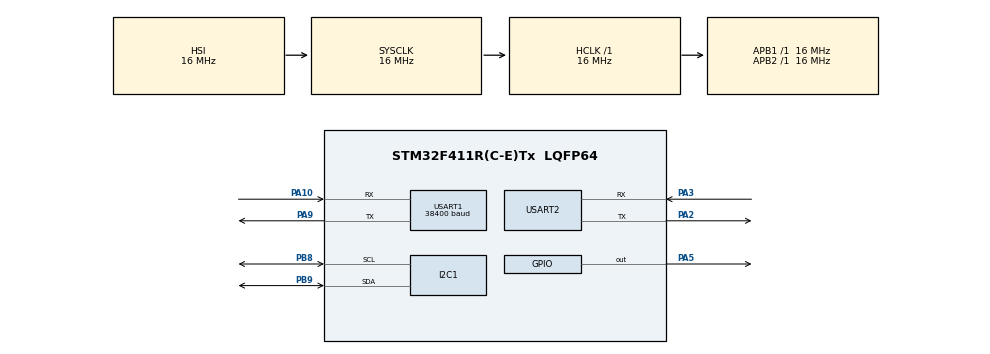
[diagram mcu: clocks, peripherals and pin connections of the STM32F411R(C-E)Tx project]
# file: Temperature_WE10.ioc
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FREERTOS.Tasks01=defaultTask,0,128,StartDefaultTask,Default,NULL,Dynamic,NULL,NULL
FREERTOS.configUSE_NEWLIB_REENTRANT=1
Mcu.Family=STM32F4
Mcu.Name=STM32F411R(C-E)Tx
Mcu.Package=LQFP64
NVIC.PriorityGroup=NVIC_PRIORITYGROUP_4
NVIC.TIM1_UP_TIM10_IRQn=true\:15\:0\:false\:false\:true\:false\:false\:true\:true
NVIC.TimeBase=TIM1_UP_TIM10_IRQn
NVIC.TimeBaseIP=TIM1
PA10.Mode=Asynchronous
PA10.Signal=USART1_RX
PA2.Mode=Asynchronous
PA2.Signal=USART2_TX
PA3.Mode=Asynchronous
PA3.Signal=USART2_RX
PA5.Signal=GPIO_Output
PA9.Mode=Asynchronous
PA9.Signal=USART1_TX
PB8.GPIO_Pu=GPIO_PULLUP
PB8.Mode=I2C
PB8.Signal=I2C1_SCL
PB9.GPIO_Pu=GPIO_PULLUP
PB9.Mode=I2C
PB9.Signal=I2C1_SDA
ProjectManager.HeapSize=0x200
ProjectManager.StackSize=0x400
ProjectManager.TargetToolchain=STM32CubeIDE
RCC.AHBFreq_Value=16000000
RCC.APB1Freq_Value=16000000
RCC.APB2Freq_Value=16000000
RCC.CortexFreq_Value=16000000
RCC.HSE_VALUE=25000000
RCC.HSI_VALUE=16000000
RCC.LSE_VALUE=32768
RCC.SYSCLKFreq_VALUE=16000000
RCC.VCOOutputFreq_Value=192000000
USART1.BaudRate=38400
USART1.VirtualMode=VM_ASYNC
USART2.VirtualMode=VM_ASYNC
VP_FREERTOS_VS_CMSIS_V1.Mode=CMSIS_V1
VP_SYS_VS_tim1.Mode=TIM1
board=custom

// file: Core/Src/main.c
/* USER CODE BEGIN Header */
/**
  ******************************************************************************
  * @file           : main.c
  * @brief          : Main program body
  ******************************************************************************
  * @attention
  *
  * Copyright (c) 2023 STMicroelectronics.
  * All rights reserved.
  *
  * This software is licensed under terms that can be found in the LICENSE file
  * in the root directory of this software component.
  * If no LICENSE file comes with this software, it is provided AS-IS.
  *
  ******************************************************************************
  */
/* USER CODE END Header */
#include "main.h"
#include "cmsis_os.h"
#include "stdio.h"
#include "string.h"

I2C_HandleTypeDef hi2c1;

UART_HandleTypeDef huart1;
UART_HandleTypeDef huart2;

osThreadId TaskHandle1;
osThreadId TaskHandle2;
/* USER CODE BEGIN PV */
#define AHT25_ADDR 0x70 // Address of the AHT25 sensor

// AHT25 commands
#define AHT25_INIT_CMD 0xE1
#define AHT25_MEASURE_CMD 0xAC

/* USER CODE END PV */

void SystemClock_Config(void);
static void MX_GPIO_Init(void);
static void MX_I2C1_Init(void);
static void MX_USART1_UART_Init(void);
static void MX_USART2_UART_Init(void);
void StartTask1(void const * argument);
void StartTask2(void const * argument);

/* USER CODE BEGIN PFP */
char buffer[128];
float temperature, humidity;

float read_sensor_values() {
    uint8_t data[6];
    uint8_t cmd = AHT25_MEASURE_CMD;

    HAL_I2C_Master_Transmit(&hi2c1, AHT25_ADDR, &cmd, 1, HAL_MAX_DELAY);
    //HAL_Delay(100);
    HAL_I2C_Master_Receive(&hi2c1, 0x71, data, 6, HAL_MAX_DELAY);

    humidity = ((float)((data[1] << 12) | (data[2] << 4) | (data[3] >> 4))) / 1048576.0 * 100.0;
    temperature = ((float)(((data[3] & 0x0F) << 16) | (data[4] << 8) | data[5])) / 1048576.0 * 200.0 - 50.0;

	    return humidity;
	}

/* USER CODE END PFP */

/* USER CODE BEGIN 0 */
void send_task1(void)
{

	sprintf(buffer, ".....TASK_1_LED_TOGGLE.....\n\r");
	HAL_UART_Transmit(&huart2, (uint8_t*)buffer, strlen(buffer), 1000);

}
void send_task_1(void)
{

	HAL_GPIO_TogglePin(GPIOA, GPIO_PIN_5);

}
void send_task2(void)
{

	sprintf(buffer, ".....TASK_2.....\n\r");
	HAL_UART_Transmit(&huart2, (uint8_t*)buffer, strlen(buffer), 1000);

}
void send_uart2(void)
{
    sprintf(buffer, "HUMIDITY:----->");
    HAL_UART_Transmit(&huart2, (uint8_t*)buffer, strlen(buffer), 1000);
    sprintf(buffer, "%.2f\r\n", humidity);  // Dereference the pointer
    HAL_UART_Transmit(&huart2, (uint8_t*)buffer, strlen(buffer), 1000);
    //HAL_Delay(1000);

    // Print temperature
    sprintf(buffer, "TEMPERATURE:---->");
    HAL_UART_Transmit(&huart2, (uint8_t*)buffer, strlen(buffer), 1000);
    sprintf(buffer, "%.2f\r\n", temperature);  // Dereference the pointer
    HAL_UART_Transmit(&huart2, (uint8_t*)buffer, strlen(buffer), 1000);
    //HAL_Delay(1000);
}

/* USER CODE END 0 */

int main(void)
{

  /* MCU Configuration--------------------------------------------------------*/

  /* Reset of all peripherals, Initializes the Flash interface and the Systick. */
  HAL_Init();

  /* Configure the system clock */
  SystemClock_Config();

  /* Initialize all configured peripherals */
  MX_GPIO_Init();
  MX_I2C1_Init();
  MX_USART1_UART_Init();
  MX_USART2_UART_Init();
  /* USER CODE BEGIN 2 */
  WE10_Init("Dinu","12345678");
  MQTT_Init();

  /* USER CODE END 2 */

  /* Create the thread(s) */
	sprintf(buffer, ".....FREERTOS_STARTS.....\n\r");
	HAL_UART_Transmit(&huart2, (uint8_t*)buffer, strlen(buffer), 1000);

  osThreadDef(Task1, StartTask1, osPriorityAboveNormal, 0, 128);
  TaskHandle1 = osThreadCreate(osThread(Task1), NULL);

  /* definition and creation of Task2 */
  osThreadDef(Task2, StartTask2, osPriorityNormal, 0, 128);
  TaskHandle2 = osThreadCreate(osThread(Task2), NULL);
  /* definition and creation of defaultTask */

  /* Start scheduler */
  osKernelStart();
  /* We should never get here as control is now taken by the scheduler */
  /* Infinite loop */
  while (1)
  {
//		sprintf(buffer, ".....TASK_2.....\n\r");
//		HAL_UART_Transmit(&huart2, (uint8_t*)buffer, strlen(buffer), 1000);
		//HAL_Delay(1000);
	  read_sensor_values();
	  send_uart2();

  }
}

void SystemClock_Config(void)
{
  RCC_OscInitTypeDef RCC_OscInitStruct = {0};
  RCC_ClkInitTypeDef RCC_ClkInitStruct = {0};

  /** Configure the main internal regulator output voltage
  */
  __HAL_RCC_PWR_CLK_ENABLE();
  __HAL_PWR_VOLTAGESCALING_CONFIG(PWR_REGULATOR_VOLTAGE_SCALE1);

  /** Initializes the RCC Oscillators according to the specified parameters
  * in the RCC_OscInitTypeDef structure.
  */
  RCC_OscInitStruct.OscillatorType = RCC_OSCILLATORTYPE_HSI;
  RCC_OscInitStruct.HSIState = RCC_HSI_ON;
  RCC_OscInitStruct.HSICalibrationValue = RCC_HSICALIBRATION_DEFAULT;
  RCC_OscInitStruct.PLL.PLLState = RCC_PLL_NONE;
  if (HAL_RCC_OscConfig(&RCC_OscInitStruct) != HAL_OK)
  {
    Error_Handler();
  }

  /** Initializes the CPU, AHB and APB buses clocks
  */
  RCC_ClkInitStruct.ClockType = RCC_CLOCKTYPE_HCLK|RCC_CLOCKTYPE_SYSCLK
                              |RCC_CLOCKTYPE_PCLK1|RCC_CLOCKTYPE_PCLK2;
  RCC_ClkInitStruct.SYSCLKSource = RCC_SYSCLKSOURCE_HSI;
  RCC_ClkInitStruct.AHBCLKDivider = RCC_SYSCLK_DIV1;
  RCC_ClkInitStruct.APB1CLKDivider = RCC_HCLK_DIV1;
  RCC_ClkInitStruct.APB2CLKDivider = RCC_HCLK_DIV1;

  if (HAL_RCC_ClockConfig(&RCC_ClkInitStruct, FLASH_LATENCY_0) != HAL_OK)
  {
    Error_Handler();
  }
}

static void MX_I2C1_Init(void)
{

  hi2c1.Instance = I2C1;
  hi2c1.Init.ClockSpeed = 100000;
  hi2c1.Init.DutyCycle = I2C_DUTYCYCLE_2;
  hi2c1.Init.OwnAddress1 = 0;
  hi2c1.Init.AddressingMode = I2C_ADDRESSINGMODE_7BIT;
  hi2c1.Init.DualAddressMode = I2C_DUALADDRESS_DISABLE;
  hi2c1.Init.OwnAddress2 = 0;
  hi2c1.Init.GeneralCallMode = I2C_GENERALCALL_DISABLE;
  hi2c1.Init.NoStretchMode = I2C_NOSTRETCH_DISABLE;
  if (HAL_I2C_Init(&hi2c1) != HAL_OK)
  {
    Error_Handler();
  }

}

static void MX_USART1_UART_Init(void)
{

  huart1.Instance = USART1;
  huart1.Init.BaudRate = 38400;
  huart1.Init.WordLength = UART_WORDLENGTH_8B;
  huart1.Init.StopBits = UART_STOPBITS_1;
  huart1.Init.Parity = UART_PARITY_NONE;
  huart1.Init.Mode = UART_MODE_TX_RX;
  huart1.Init.HwFlowCtl = UART_HWCONTROL_NONE;
  huart1.Init.OverSampling = UART_OVERSAMPLING_16;
  if (HAL_UART_Init(&huart1) != HAL_OK)
  {
    Error_Handler();
  }

}

static void MX_USART2_UART_Init(void)
{

  huart2.Instance = USART2;
  huart2.Init.BaudRate = 115200;
  huart2.Init.WordLength = UART_WORDLENGTH_8B;
  huart2.Init.StopBits = UART_STOPBITS_1;
  huart2.Init.Parity = UART_PARITY_NONE;
  huart2.Init.Mode = UART_MODE_TX_RX;
  huart2.Init.HwFlowCtl = UART_HWCONTROL_NONE;
  huart2.Init.OverSampling = UART_OVERSAMPLING_16;
  if (HAL_UART_Init(&huart2) != HAL_OK)
  {
    Error_Handler();
  }

}

static void MX_GPIO_Init(void)
{
  GPIO_InitTypeDef GPIO_InitStruct = {0};

  /* GPIO Ports Clock Enable */
  __HAL_RCC_GPIOA_CLK_ENABLE();
  __HAL_RCC_GPIOB_CLK_ENABLE();

  /*Configure GPIO pin Output Level */
  HAL_GPIO_WritePin(GPIOA, GPIO_PIN_5, GPIO_PIN_RESET);

  /*Configure GPIO pin : PA5 */
  GPIO_InitStruct.Pin = GPIO_PIN_5;
  GPIO_InitStruct.Mode = GPIO_MODE_OUTPUT_PP;
  GPIO_InitStruct.Pull = GPIO_NOPULL;
  GPIO_InitStruct.Speed = GPIO_SPEED_FREQ_LOW;
  HAL_GPIO_Init(GPIOA, &GPIO_InitStruct);

}

//void StartTask1(void const * argument)
//{
//  /* USER CODE BEGIN 5 */
//  /* Infinite loop */
//  while(1)
//  {
//	  send_task1();
//	  send_task_1();
//	  osDelay(1000);
//  }
//  /* USER CODE END 5 */
//}
//
//
//void StartTask2(void const * argument)
//{
//  /* USER CODE BEGIN 5 */
//  /* Infinite loop */
//  while(1)
//  {
//	  read_sensor_values();
//	  send_uart2();
//      osDelay(1000);
//  }
//  /* USER CODE END 5 */
//}

void StartTask1(void const * argument)
{
  /* USER CODE BEGIN 5 */
  /* Infinite loop */
  while(1)
  {
//	  send_task1();
//	  send_task_1();
	  read_sensor_values();
	  osDelay(1000);
  }
  /* USER CODE END 5 */
}

void StartTask2(void const * argument)
{
  /* USER CODE BEGIN 5 */
  /* Infinite loop */
  while(1)
  {

//	  mqtt_data_send();
	  read_sensor_values();
	    sprintf (&buffer[0], "CMD+MQTTPUB=base/state/temperature,%.2f\r\n",temperature);
	    HAL_UART_Transmit(&huart1, (uint8_t*)buffer, strlen(buffer), 1000);
	    HAL_UART_Transmit(&huart2, (uint8_t*)buffer, strlen(buffer), 1000);
	    HAL_Delay(1000);
	    //send_uart2();
      //osDelay(1000);
  }
  /* USER CODE END 5 */
}

void WE10_Init (char *SSID, char *PASSWD)
{
	char buffer[128];
	/********* CMD+RESET **********/
	//memset(&buffer[0],0x00,strlen(buffer));
	sprintf (&buffer[0], "CMD+RESET\r\n");
	HAL_UART_Transmit(&huart1, (uint8_t*)buffer, strlen(buffer), 1000);
	HAL_UART_Transmit(&huart2, (uint8_t*)buffer, strlen(buffer), 1000);

	HAL_UART_Receive(&huart1, (uint8_t*)buffer, strlen(buffer), 1000);
	HAL_UART_Transmit(&huart2, (uint8_t*)buffer, strlen(buffer), 1000);

	/*********  CMD+WIFIMODE=1  **********/
	//memset(&buffer[0],0x00,strlen(buffer));
	sprintf (&buffer[0], "CMD+WIFIMODE=1\r\n");
	HAL_UART_Transmit(&huart1, (uint8_t*)buffer, strlen(buffer), 1000);
	HAL_UART_Transmit(&huart2, (uint8_t*)buffer, strlen(buffer), 1000);

	HAL_UART_Receive(&huart1, (uint8_t*)buffer, strlen(buffer), 1000);
	HAL_UART_Transmit(&huart2, (uint8_t*)buffer, strlen(buffer), 1000);
	HAL_Delay(2000);

	/********* CMD+CONTOAP=SSID,PASSWD **********/
	//memset(&buffer[0],0x00,strlen(buffer));
	sprintf (&buffer[0], "CMD+CONTOAP=Dinu,12345678\r\n", SSID, PASSWD);
	HAL_UART_Transmit(&huart1, (uint8_t*)buffer, strlen(buffer), 10000);
	HAL_UART_Transmit(&huart2, (uint8_t*)buffer, strlen(buffer), 10000);
	//memset(&buffer[0],0x00,strlen(buffer));
	HAL_Delay(2000);
	HAL_UART_Receive(&huart1, (uint8_t*)buffer, strlen(buffer), 10000);
	HAL_Delay(500);
	HAL_UART_Transmit(&huart2, (uint8_t*)buffer, strlen(buffer), 10000);

	/********* CMD?WIFI**********/
	//memset(&buffer[0],0x00,strlen(buffer));
	sprintf (&buffer[0], "CMD?WIFI\r\n");
	HAL_UART_Transmit(&huart1, (uint8_t*)buffer, strlen(buffer), 10000);
	HAL_UART_Transmit(&huart2, (uint8_t*)buffer, strlen(buffer), 10000);
//	memset(&buffer[0],0x00,strlen(buffer));
//	HAL_Delay(500);
	HAL_UART_Receive(&huart1, (uint8_t*)buffer, strlen(buffer), 10000);
	HAL_Delay(500);
	HAL_UART_Transmit(&huart2, (uint8_t*)buffer, strlen(buffer), 10000);

}

void MQTT_Init()
{

	char buffer[128];

	/*********CMD+MQTTNETCFG **********/
	//memset(&buffer[0],0x00,strlen(buffer));
	sprintf (&buffer[0], "CMD+MQTTNETCFG=dev.rightech.io,1883\r\n");
	HAL_UART_Transmit(&huart1, (uint8_t*)buffer, strlen(buffer), 10000);
	HAL_UART_Transmit(&huart2, (uint8_t*)buffer, strlen(buffer), 10000);
	//memset(&buffer[0],0x00,strlen(buffer));
	//HAL_Delay(500);
	HAL_UART_Receive(&huart1, (uint8_t*)buffer, strlen(buffer), 10000);
	HAL_Delay(500);
	HAL_UART_Transmit(&huart2, (uint8_t*)buffer, strlen(buffer), 10000);

	/*********CMD+MQTTCONCFG **********/
	//memset(&buffer[0],0x00,strlen(buffer));
	sprintf (&buffer[0], "CMD+MQTTCONCFG=3,mqtt-velikapatidinesh2000-uyz9a3,,,,,,,,,\r\n");
	HAL_UART_Transmit(&huart1, (uint8_t*)buffer, strlen(buffer), 1000);
	HAL_UART_Transmit(&huart2, (uint8_t*)buffer, strlen(buffer), 1000);
	//memset(&buffer[0],0x00,strlen(buffer));
	//HAL_Delay(500);
	HAL_UART_Receive(&huart1, (uint8_t*)buffer, strlen(buffer), 1000);
	HAL_Delay(500);
	HAL_UART_Transmit(&huart2, (uint8_t*)buffer, strlen(buffer), 1000);

	/*********CMD+MQTTSTART **********/
	//memset(&buffer[0],0x00,strlen(buffer));
	sprintf (&buffer[0], "CMD+MQTTSTART=1\r\n");
	HAL_UART_Transmit(&huart1, (uint8_t*)buffer, strlen(buffer), 1000);
	HAL_UART_Transmit(&huart2, (uint8_t*)buffer, strlen(buffer), 1000);
//	memset(&buffer[0],0x00,strlen(buffer));
	HAL_Delay(5000);
	HAL_UART_Receive(&huart1, (uint8_t*)buffer, strlen(buffer), 1000);
	HAL_Delay(500);
	HAL_UART_Transmit(&huart2, (uint8_t*)buffer, strlen(buffer), 1000);

	/*********CMD+MQTTSUB *********/
	//memset(&buffer[0],0x00,strlen(buffer));
	sprintf (&buffer[0], "CMD+MQTTSUB=base/relay/led1\r\n");
	HAL_UART_Transmit(&huart1, (uint8_t*)buffer, strlen(buffer), 1000);
	HAL_UART_Transmit(&huart2, (uint8_t*)buffer, strlen(buffer), 1000);
	HAL_Delay(500);
	HAL_UART_Receive(&huart1, (uint8_t*)buffer, strlen(buffer), 1000);
	HAL_UART_Transmit(&huart2, (uint8_t*)buffer, strlen(buffer), 1000);

}

	void mqtt_data_send()
	{
	    char buffer[50];
	   // sprintf(&buffer[0], "EVT+SUBDATA=base/state/temperature,%.2f\r\n",    Adc.IntSensTmp );

	    sprintf (&buffer[0], "CMD+MQTTPUB=base/state/temperature,%.2f\r\n",temperature);
	    HAL_UART_Transmit(&huart1, (uint8_t*)buffer, strlen(buffer), 1000);

		//HAL_UART_Transmit(&huart1, (uint8_t*)buffer, strlen(buffer), 1000);
		//HAL_UART_Transmit(&huart2, (uint8_t*)buffer, strlen(buffer), 1000);

	    // Your MQTT publish logic here
	    // Replace the following code with your MQTT implementation
	    // For example, if you are using an MQTT library:
	    // mqtt_publish("topic", buffer);

	    // Print the buffer for demonstration purposes
	    printf("%s", buffer);

	}

void HAL_TIM_PeriodElapsedCallback(TIM_HandleTypeDef *htim)
{
  if (htim->Instance == TIM1) {
    HAL_IncTick();
  }
}

void Error_Handler(void)
{
  __disable_irq();
  while (1)
  {
  }
}
